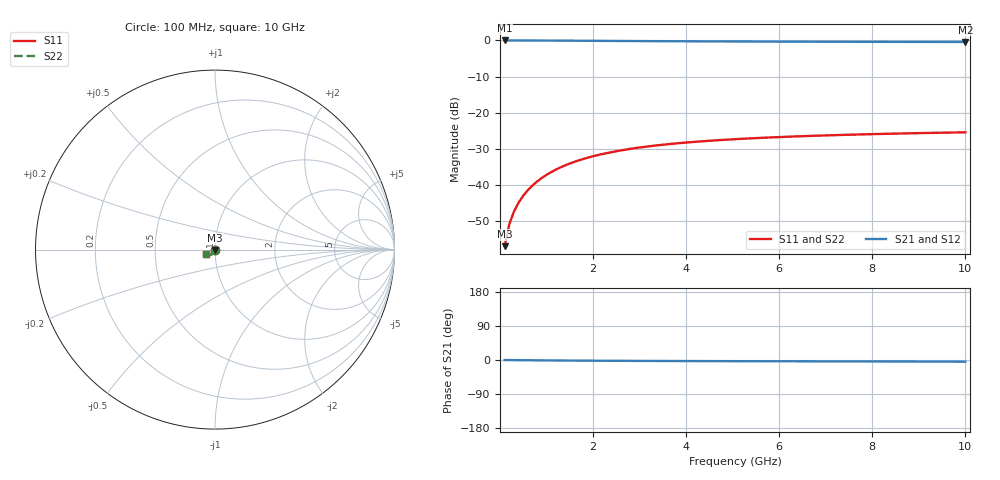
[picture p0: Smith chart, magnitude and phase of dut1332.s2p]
! Touchstone file exported from HFSS 2024.1.0
!  File:  C:/UserFiles/LocalFiles/RDL_TSV_Batchsim/temp_TSV1_1332_1780375540.aedt
!  Generated:  12:51:13 PM Jun  2, 2026
!  Design:  TSV1
!  Project:  temp_TSV1_1332_1780375540
!  Setup:  Setup1
!  Solution:  Sweep
! Variables:
!  dtsv = 14.12um
!  hbump = 3um
!  htsv = 62.55um
!  lrdl = 252.1521522um
!  p = 40
!  p1 = 43.7um
!  t = 500um
!  trdl = 3um
!  wrdl = 24.89489489um
# GHz S MA R 50.000000
! Terminal data exported
! Port[1] = TSV22_T1
! Port[2] = TSV22_T2
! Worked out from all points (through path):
!   100 points, 100 MHz to 10 GHz, reference 50 ohm
!   highest |S21| = 0.00 dB at 100 MHz (marker M1); lowest = -0.4 dB at 10 GHz (marker M2)
!   lowest |S11| = -56.9 dB at 100 MHz (marker M3), VSWR 1.00, Z = 50 - j0.143 ohm
!   |S11| at or under -10 dB: start of sweep to end of sweep
!   |S22| runs from -56.9 to -25.4 dB; largest |S21 - S12| = 8.5e-15
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0.1  0.001431 -88.5  0.9999 -0.1  0.9999 -0.1  0.001431 -88.5
! Gamma 0 0 0 0
! Port Impedance 50 0 50 0
0.2  0.002866 -91.7  0.9998 -0.2  0.9998 -0.2  0.002866 -91.7
0.3  0.004298 -93.8  0.9996 -0.3  0.9996 -0.3  0.004298 -93.8
0.4  0.00572 -95.5  0.9993 -0.4  0.9993 -0.4  0.00572 -95.5
0.5  0.007128 -97.1  0.9989 -0.6  0.9989 -0.6  0.007128 -97.1
0.6  0.008518 -98.7  0.9985 -0.7  0.9985 -0.7  0.008518 -98.7
0.7  0.009888 -100.2  0.9981 -0.8  0.9981 -0.8  0.009888 -100.2
0.8  0.01123 -101.7  0.9975 -0.9  0.9975 -0.9  0.01123 -101.7
0.9  0.01256 -103.1  0.9969 -1.0  0.9969 -1.0  0.01256 -103.1
1.1  0.01511 -106.0  0.9956 -1.2  0.9956 -1.2  0.01511 -106.0
1.4  0.01872 -109.9  0.9934 -1.4  0.9934 -1.4  0.01872 -109.9
1.6  0.02096 -112.4  0.9918 -1.6  0.9918 -1.6  0.02096 -112.4
1.8  0.02307 -114.8  0.9901 -1.7  0.9901 -1.7  0.02307 -114.8
2.1  0.02597 -118.1  0.9876 -1.9  0.9876 -1.9  0.02597 -118.1
2.5  0.02941 -122.1  0.9843 -2.2  0.9843 -2.2  0.02941 -122.1
2.9  0.03239 -125.6  0.9811 -2.4  0.9811 -2.4  0.03239 -125.6
3.4  0.03558 -129.4  0.9775 -2.6  0.9775 -2.6  0.03558 -129.4
4.2  0.03971 -134.4  0.9723 -2.9  0.9723 -2.9  0.03971 -134.4
5.1  0.0433 -138.9  0.9675 -3.1  0.9675 -3.1  0.0433 -138.9
6.7  0.04795 -144.7  0.9609 -3.5  0.9609 -3.5  0.04795 -144.7
8.4  0.05136 -149.1  0.956 -3.9  0.956 -3.9  0.05136 -149.1
10  0.05368 -152.3  0.9526 -4.3  0.9526 -4.3  0.05368 -152.3
